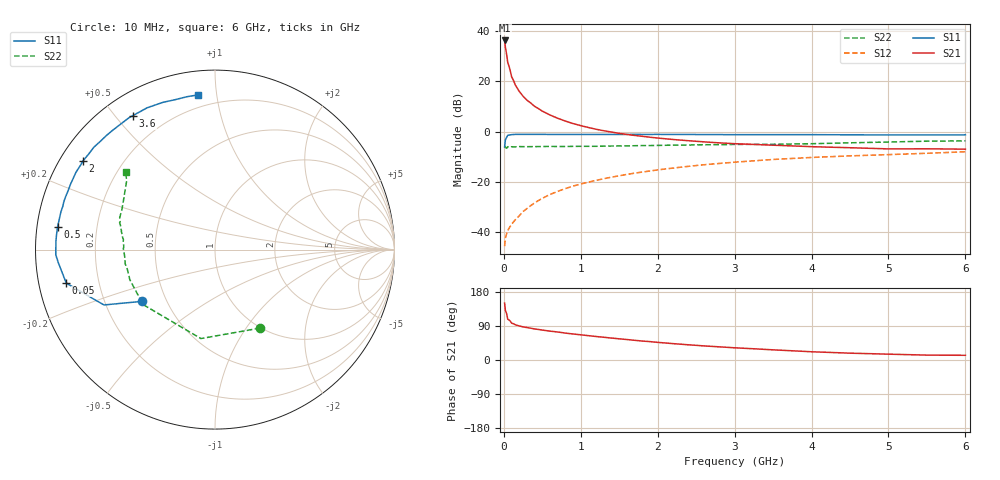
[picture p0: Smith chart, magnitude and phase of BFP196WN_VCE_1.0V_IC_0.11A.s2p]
! Infineon Technologies  Discrete & RF Semiconductors
! BFP196WN
! VCE =  1.0 V,  IC = 0.11 A
! Common Emitter S-Parameters:  Jan 2017
# GHz  S  MA  R  50
!  f  S11  S21  S12  S22
! GHz  MAG  ANG  MAG  ANG  MAG  ANG  MAG  ANG
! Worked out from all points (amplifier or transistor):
!   77 points, 10 MHz to 6 GHz, reference 50 ohm
!   highest |S21| = 36.3 dB at 10 MHz (marker M1)
!   |S21| within 3 dB of that: start of sweep to 21.77 MHz
!   unconditionally stable (mu >= 1): 190.9 MHz to end of sweep
!   at 130 MHz: K = 0.88, MSG = 27.9 dB, |S12| = -35.7 dB
!   at 2.2 GHz: K = 1.08, MAG = 3.9 dB, |S12| = -14.5 dB
!   at 6 GHz: K = 1.03, MAG = -0.5 dB, |S12| = -8.0 dB
!   S11 on the Smith chart (normalised r, x): 10 MHz: 0.37, -0.28; 50 MHz: 0.08, -0.11; 500 MHz: 0.06, +0.07; 2 GHz: 0.07, +0.30; 3.6 GHz: 0.09, +0.56; 6 GHz: 0.13, +0.89
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0.01  0.4978 -144.6  65.4 150.3  0.0053 61.4  0.5048 -60.0
0.02  0.6911 -153.5  47.92 130.6  0.0077 46.6  0.5018 -99.0
0.05  0.8493 -167.3  24.11 107.8  0.0108 40.3  0.5043 -142.6
0.1  0.876 -175.2  12.53 97.5  0.0144 51.4  0.5033 -160.5
0.15  0.8873 -178.1  8.453 92.8  0.0178 57.4  0.5006 -167.7
0.2  0.8868 179.6  6.353 89.9  0.0213 62.2  0.5066 -171.0
0.25  0.8869 178.1  5.089 87.4  0.0259 64.7  0.5052 -173.1
0.3  0.8875 176.5  4.249 85.6  0.0296 66.6  0.5046 -175.2
0.4  0.8866 174.0  3.203 81.9  0.0384 70.3  0.506 -177.3
0.5  0.8862 171.9  2.571 79.0  0.0475 71.4  0.5084 -179.1
0.6  0.8845 169.9  2.154 76.2  0.0565 71.2  0.5107 179.4
0.8  0.8839 166.2  1.63 71.0  0.074 72.2  0.5093 177.3
0.9  0.8815 164.2  1.454 68.6  0.083 70.9  0.512 176.3
1.1  0.8833 161.0  1.214 64.2  0.0995 70.0  0.5134 174.3
1.5  0.8837 154.3  0.928 55.9  0.1333 66.9  0.5211 171.2
2  0.8861 146.1  0.749 46.5  0.1744 62.4  0.5345 168.0
2.1  0.884 144.5  0.725 44.9  0.1819 61.4  0.5381 167.4
3.1  0.875 129.1  0.571 31.2  0.2544 51.1  0.5606 160.6
3.6  0.8757 121.6  0.533 25.8  0.2862 46.0  0.5666 156.0
4.1  0.874 114.4  0.5 21.0  0.3126 41.1  0.5827 150.7
5.1  0.8641 103.8  0.456 14.9  0.3552 32.9  0.6298 141.5
6  0.8674 96.1  0.45 12.4  0.3995 26.6  0.6584 139.0
